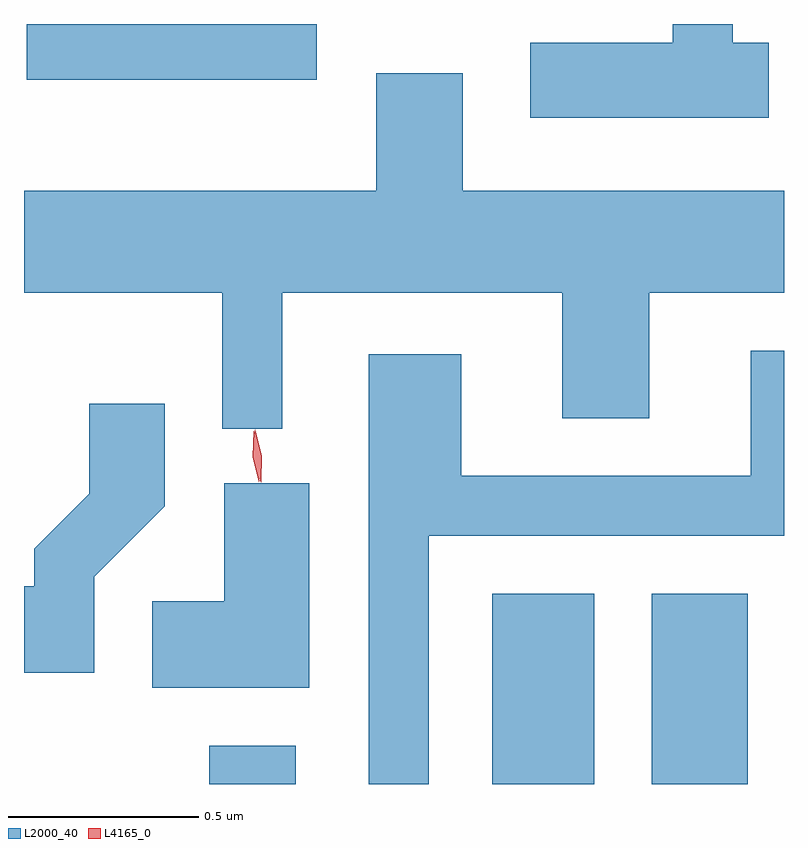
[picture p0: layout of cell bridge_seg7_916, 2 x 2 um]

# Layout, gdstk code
import gdstk
lib = gdstk.Library(unit=1e-6, precision=1e-09)
def R(c, l, rs):  # rectangles x0, y0, x1, y1
    for r in rs: c.add(gdstk.rectangle(r[:2], r[2:], *l))
def P(c, l, *ps):  # polygons
    for p in ps: c.add(gdstk.Polygon(p, *l))
L2000_40 = (2000, 40)
L4165_0 = (4165, 0)

bridge_seg7_916 = lib.new_cell('bridge_seg7_916')
R(bridge_seg7_916, L2000_40, [(203.771,1710.803,203.999,1710.904), (204.516,1710.803,204.784,1711.304), (204.936,1710.803,205.189,1711.304), (203.291,1712.656,204.054,1712.803)])
P(bridge_seg7_916, L2000_40, [(205.244,1712.754),(205.149,1712.754),(205.149,1712.803),(204.991,1712.803),(204.991,1712.754),(204.616,1712.754),(204.616,1712.556),(205.244,1712.556)],
  [(203.964,1712.096),(204.701,1712.096),(204.701,1711.766),(204.929,1711.766),(204.929,1712.096),(205.284,1712.096),(205.284,1712.364),(204.439,1712.364),(204.439,1712.674),(204.211,1712.674),(204.211,1712.364),(203.284,1712.364),(203.284,1712.096),(203.806,1712.096),(203.806,1711.738),(203.964,1711.738)],
  [(204.349,1711.456),(205.284,1711.456),(205.284,1711.943),(205.196,1711.943),(205.196,1711.614),(204.434,1711.614),(204.434,1711.934),(204.191,1711.934),(204.191,1710.803),(204.349,1710.803)],
  [(203.469,1711.349),(203.654,1711.534),(203.654,1711.804),(203.456,1711.804),(203.456,1711.567),(203.311,1711.422),(203.311,1711.324),(203.284,1711.324),(203.284,1711.096),(203.469,1711.096)],
  [(204.034,1711.594),(203.811,1711.594),(203.811,1711.284),(203.621,1711.284),(203.621,1711.056),(204.034,1711.056)])
P(bridge_seg7_916, L4165_0, [(203.902,1711.599),(203.902,1711.6),(203.886,1711.664),(203.889,1711.731),(203.89,1711.732),(203.89,1711.731),(203.906,1711.666),(203.903,1711.6)],
  [(203.908,1711.597),(203.907,1711.598),(203.89,1711.665),(203.892,1711.735),(203.892,1711.735),(203.893,1711.735),(203.91,1711.667),(203.908,1711.598)])

lib.write_gds('bridge_seg7_916.gds')
